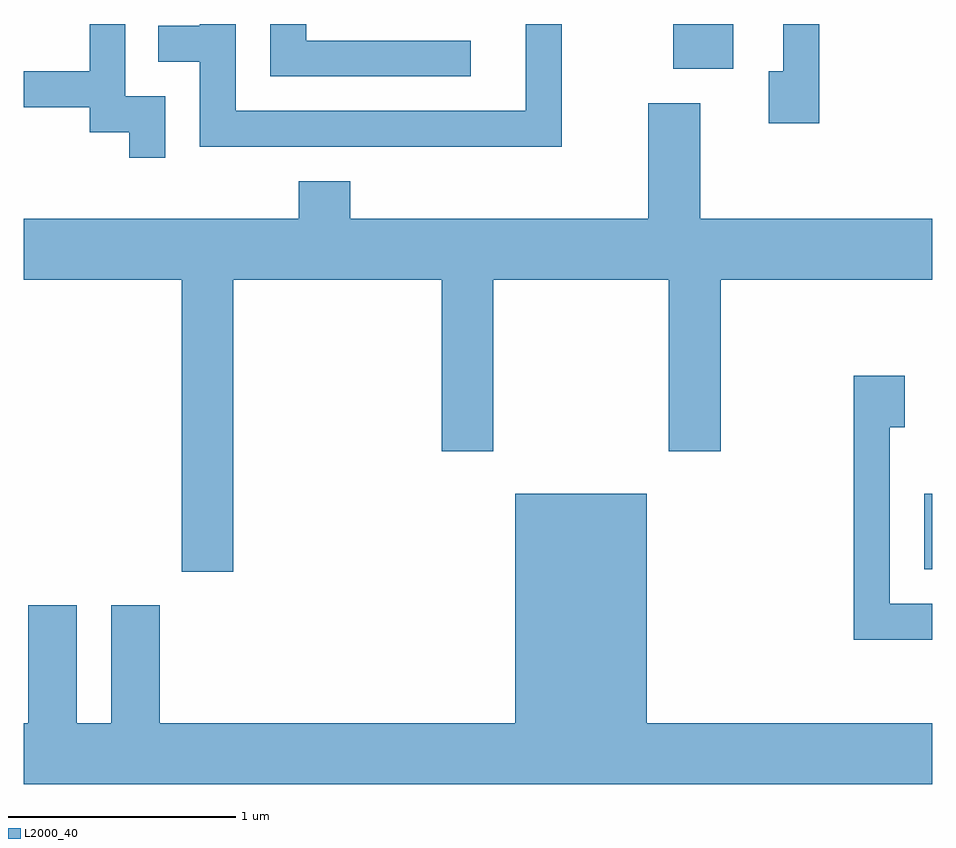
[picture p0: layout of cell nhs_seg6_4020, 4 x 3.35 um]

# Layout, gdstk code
import gdstk
lib = gdstk.Library(unit=1e-6, precision=1e-09)
def R(c, l, rs):  # rectangles x0, y0, x1, y1
    for r in rs: c.add(gdstk.rectangle(r[:2], r[2:], *l))
def P(c, l, *ps):  # polygons
    for p in ps: c.add(gdstk.Polygon(p, *l))
L2000_40 = (2000, 40)

nhs_seg6_4020 = lib.new_cell('nhs_seg6_4020')
R(nhs_seg6_4020, L2000_40, [(309.576,1659.761,309.611,1660.094), (308.471,1661.966,308.734,1662.162)])
P(nhs_seg6_4020, L2000_40, [(306.234,1661.844),(306.059,1661.844),(306.059,1662.162),(305.901,1662.162),(305.901,1661.954),(305.611,1661.954),(305.611,1661.796),(305.901,1661.796),(305.901,1661.686),(306.076,1661.686),(306.076,1661.573),(306.234,1661.573)],
  [(309.114,1662.162),(308.956,1662.162),(308.956,1661.954),(308.891,1661.954),(308.891,1661.726),(309.114,1661.726)],
  [(307.979,1662.162),(307.821,1662.162),(307.821,1661.779),(306.544,1661.779),(306.544,1662.162),(306.386,1662.162),(306.386,1662.154),(306.203,1662.154),(306.203,1661.996),(306.386,1661.996),(306.386,1661.621),(307.979,1661.621)],
  [(307.578,1662.089),(306.854,1662.089),(306.854,1662.162),(306.696,1662.162),(306.696,1661.931),(307.578,1661.931)],
  [(306.534,1661.036),(307.451,1661.036),(307.451,1660.281),(307.679,1660.281),(307.679,1661.036),(308.451,1661.036),(308.451,1660.281),(308.679,1660.281),(308.679,1661.036),(309.611,1661.036),(309.611,1661.304),(308.589,1661.304),(308.589,1661.814),(308.361,1661.814),(308.361,1661.304),(307.049,1661.304),(307.049,1661.469),(306.821,1661.469),(306.821,1661.304),(305.611,1661.304),(305.611,1661.036),(306.306,1661.036),(306.306,1659.751),(306.534,1659.751)],
  [(309.611,1659.609),(309.424,1659.609),(309.424,1660.386),(309.489,1660.386),(309.489,1660.614),(309.266,1660.614),(309.266,1659.451),(309.611,1659.451)],
  [(309.611,1659.084),(308.354,1659.084),(308.354,1660.094),(307.776,1660.094),(307.776,1659.084),(306.209,1659.084),(306.209,1659.604),(305.996,1659.604),(305.996,1659.084),(305.844,1659.084),(305.844,1659.604),(305.631,1659.604),(305.631,1659.084),(305.611,1659.084),(305.611,1658.816),(309.611,1658.816)])

lib.write_gds('nhs_seg6_4020.gds')
